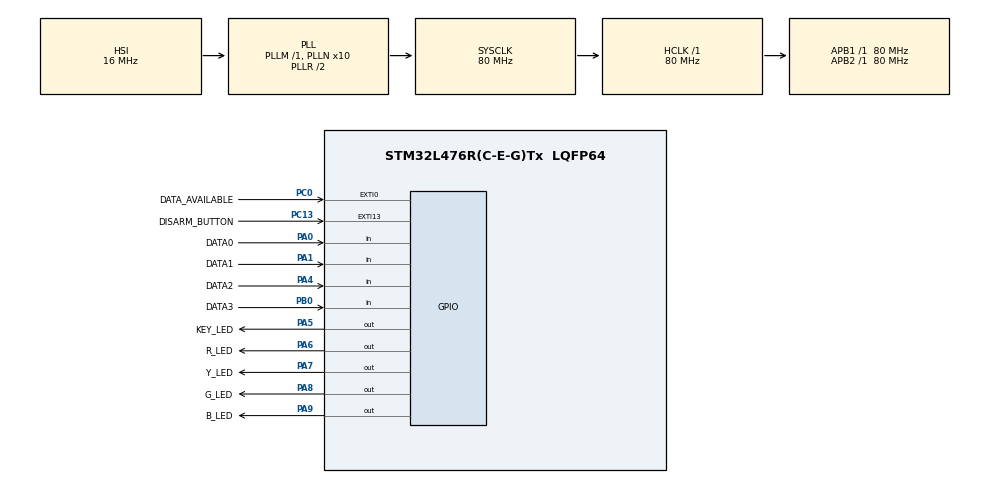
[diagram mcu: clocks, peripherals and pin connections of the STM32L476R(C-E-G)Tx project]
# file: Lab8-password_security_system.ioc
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Mcu.Family=STM32L4
Mcu.Name=STM32L476R(C-E-G)Tx
Mcu.Package=LQFP64
NVIC.EXTI0_IRQn=true\:0\:0\:false\:false\:true\:true\:true\:true
NVIC.EXTI15_10_IRQn=true\:0\:0\:false\:false\:true\:true\:true\:true
NVIC.PriorityGroup=NVIC_PRIORITYGROUP_4
PA0.GPIO_Label=DATA0
PA0.Signal=GPIO_Input
PA1.GPIO_Label=DATA1
PA1.Signal=GPIO_Input
PA13\ (JTMS-SWDIO).GPIO_Label=TMS
PA13\ (JTMS-SWDIO).Mode=Serial_Wire
PA13\ (JTMS-SWDIO).Signal=SYS_JTMS-SWDIO
PA14\ (JTCK-SWCLK).GPIO_Label=TCK
PA14\ (JTCK-SWCLK).Mode=Serial_Wire
PA14\ (JTCK-SWCLK).Signal=SYS_JTCK-SWCLK
PA4.GPIO_Label=DATA2
PA4.Signal=GPIO_Input
PA5.GPIO_Label=KEY_LED
PA5.GPIO_ModeDefaultOutputPP=GPIO_MODE_OUTPUT_PP
PA5.GPIO_PuPd=GPIO_NOPULL
PA5.GPIO_Speed=GPIO_SPEED_FREQ_LOW
PA5.Signal=GPIO_Output
PA6.GPIO_Label=R_LED
PA6.Signal=GPIO_Output
PA7.GPIO_Label=Y_LED
PA7.Signal=GPIO_Output
PA8.GPIO_Label=G_LED
PA8.Signal=GPIO_Output
PA9.GPIO_Label=B_LED
PA9.Signal=GPIO_Output
PB0.GPIO_Label=DATA3
PB0.Signal=GPIO_Input
PB3\ (JTDO-TRACESWO).GPIO_Label=SWO
PB3\ (JTDO-TRACESWO).Signal=SYS_JTDO-SWO
PC0.GPIO_Label=DATA_AVAILABLE
PC0.Signal=GPXTI0
PC13.GPIO_Label=DISARM_BUTTON
PC13.GPIO_ModeDefaultEXTI=GPIO_MODE_IT_FALLING
PC13.GPIO_PuPd=GPIO_NOPULL
PC13.Signal=GPXTI13
PC14-OSC32_IN\ (PC14).Mode=LSE-External-Oscillator
PC14-OSC32_IN\ (PC14).Signal=RCC_OSC32_IN
PC15-OSC32_OUT\ (PC15).Mode=LSE-External-Oscillator
PC15-OSC32_OUT\ (PC15).Signal=RCC_OSC32_OUT
PH0-OSC_IN\ (PH0).Signal=RCC_OSC_IN
PH1-OSC_OUT\ (PH1).Signal=RCC_OSC_OUT
ProjectManager.HeapSize=0x200
ProjectManager.StackSize=0x400
ProjectManager.TargetToolchain=STM32CubeIDE
RCC.ADCFreq_Value=64000000
RCC.AHBFreq_Value=80000000
RCC.APB1Freq_Value=80000000
RCC.APB1TimFreq_Value=80000000
RCC.APB2Freq_Value=80000000
RCC.APB2TimFreq_Value=80000000
RCC.CortexFreq_Value=80000000
RCC.HCLKFreq_Value=80000000
RCC.HSE_VALUE=8000000
RCC.HSI_VALUE=16000000
RCC.MSI_VALUE=4000000
RCC.PLLN=10
RCC.PLLSourceVirtual=RCC_PLLSOURCE_HSI
RCC.PREFETCH_ENABLE=1
RCC.SYSCLKFreq_VALUE=80000000
RCC.SYSCLKSource=RCC_SYSCLKSOURCE_PLLCLK
RCC.USBFreq_Value=64000000
RCC.VCOOutputFreq_Value=160000000
board=NUCLEO-L476RG

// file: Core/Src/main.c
/* USER CODE BEGIN Header */
/**
  ******************************************************************************
  * @file           : main.c
  * @brief          : Main program body
  ******************************************************************************
  * @attention
  *
  * Copyright (c) 2025 STMicroelectronics.
  * All rights reserved.
  *
  * This software is licensed under terms that can be found in the LICENSE file
  * in the root directory of this software component.
  * If no LICENSE file comes with this software, it is provided AS-IS.
  *
  ******************************************************************************
  */
/* USER CODE END Header */
#include "main.h"

/* USER CODE BEGIN Includes */
#include <stdbool.h>
/* USER CODE END Includes */

/* USER CODE BEGIN PV */
int password_index = 0, num_attempts = 0;
int current_password[10], temporary_password[10];
bool saving_password = false, entering_password = false, locked = false, alarm = false;
/* USER CODE END PV */

void SystemClock_Config(void);
static void MX_GPIO_Init(void);
/* USER CODE BEGIN PFP */
uint8_t keypad_decode();
/* USER CODE END PFP */

int main(void)
{

  /* MCU Configuration--------------------------------------------------------*/

  /* Reset of all peripherals, Initializes the Flash interface and the Systick. */
  HAL_Init();

  /* Configure the system clock */
  SystemClock_Config();

  /* Initialize all configured peripherals */
  MX_GPIO_Init();

  /* Infinite loop */
  /* USER CODE BEGIN WHILE */
  while (1)
  {
	  // if 3 incorrect passwords are entered, blink R_LED
	  if(alarm) {
		  HAL_GPIO_TogglePin(R_LED_GPIO_Port, R_LED_Pin);
		  HAL_Delay(250);
	  }
    /* USER CODE END WHILE */

  }
}

void SystemClock_Config(void)
{
  RCC_OscInitTypeDef RCC_OscInitStruct = {0};
  RCC_ClkInitTypeDef RCC_ClkInitStruct = {0};

  /** Configure the main internal regulator output voltage
  */
  if (HAL_PWREx_ControlVoltageScaling(PWR_REGULATOR_VOLTAGE_SCALE1) != HAL_OK)
  {
    Error_Handler();
  }

  /** Initializes the RCC Oscillators according to the specified parameters
  * in the RCC_OscInitTypeDef structure.
  */
  RCC_OscInitStruct.OscillatorType = RCC_OSCILLATORTYPE_HSI;
  RCC_OscInitStruct.HSIState = RCC_HSI_ON;
  RCC_OscInitStruct.HSICalibrationValue = RCC_HSICALIBRATION_DEFAULT;
  RCC_OscInitStruct.PLL.PLLState = RCC_PLL_ON;
  RCC_OscInitStruct.PLL.PLLSource = RCC_PLLSOURCE_HSI;
  RCC_OscInitStruct.PLL.PLLM = 1;
  RCC_OscInitStruct.PLL.PLLN = 10;
  RCC_OscInitStruct.PLL.PLLP = RCC_PLLP_DIV7;
  RCC_OscInitStruct.PLL.PLLQ = RCC_PLLQ_DIV2;
  RCC_OscInitStruct.PLL.PLLR = RCC_PLLR_DIV2;
  if (HAL_RCC_OscConfig(&RCC_OscInitStruct) != HAL_OK)
  {
    Error_Handler();
  }

  /** Initializes the CPU, AHB and APB buses clocks
  */
  RCC_ClkInitStruct.ClockType = RCC_CLOCKTYPE_HCLK|RCC_CLOCKTYPE_SYSCLK
                              |RCC_CLOCKTYPE_PCLK1|RCC_CLOCKTYPE_PCLK2;
  RCC_ClkInitStruct.SYSCLKSource = RCC_SYSCLKSOURCE_PLLCLK;
  RCC_ClkInitStruct.AHBCLKDivider = RCC_SYSCLK_DIV1;
  RCC_ClkInitStruct.APB1CLKDivider = RCC_HCLK_DIV1;
  RCC_ClkInitStruct.APB2CLKDivider = RCC_HCLK_DIV1;

  if (HAL_RCC_ClockConfig(&RCC_ClkInitStruct, FLASH_LATENCY_4) != HAL_OK)
  {
    Error_Handler();
  }
}

static void MX_GPIO_Init(void)
{
  GPIO_InitTypeDef GPIO_InitStruct = {0};

  /* GPIO Ports Clock Enable */
  __HAL_RCC_GPIOC_CLK_ENABLE();
  __HAL_RCC_GPIOH_CLK_ENABLE();
  __HAL_RCC_GPIOA_CLK_ENABLE();
  __HAL_RCC_GPIOB_CLK_ENABLE();

  /*Configure GPIO pin Output Level */
  HAL_GPIO_WritePin(GPIOA, KEY_LED_Pin|R_LED_Pin|Y_LED_Pin|G_LED_Pin
                          |B_LED_Pin, GPIO_PIN_RESET);

  /*Configure GPIO pin : DISARM_BUTTON_Pin */
  GPIO_InitStruct.Pin = DISARM_BUTTON_Pin;
  GPIO_InitStruct.Mode = GPIO_MODE_IT_FALLING;
  GPIO_InitStruct.Pull = GPIO_NOPULL;
  HAL_GPIO_Init(DISARM_BUTTON_GPIO_Port, &GPIO_InitStruct);

  /*Configure GPIO pin : DATA_AVAILABLE_Pin */
  GPIO_InitStruct.Pin = DATA_AVAILABLE_Pin;
  GPIO_InitStruct.Mode = GPIO_MODE_IT_RISING;
  GPIO_InitStruct.Pull = GPIO_NOPULL;
  HAL_GPIO_Init(DATA_AVAILABLE_GPIO_Port, &GPIO_InitStruct);

  /*Configure GPIO pins : DATA0_Pin DATA1_Pin DATA2_Pin */
  GPIO_InitStruct.Pin = DATA0_Pin|DATA1_Pin|DATA2_Pin;
  GPIO_InitStruct.Mode = GPIO_MODE_INPUT;
  GPIO_InitStruct.Pull = GPIO_NOPULL;
  HAL_GPIO_Init(GPIOA, &GPIO_InitStruct);

  /*Configure GPIO pins : KEY_LED_Pin R_LED_Pin Y_LED_Pin G_LED_Pin
                           B_LED_Pin */
  GPIO_InitStruct.Pin = KEY_LED_Pin|R_LED_Pin|Y_LED_Pin|G_LED_Pin
                          |B_LED_Pin;
  GPIO_InitStruct.Mode = GPIO_MODE_OUTPUT_PP;
  GPIO_InitStruct.Pull = GPIO_NOPULL;
  GPIO_InitStruct.Speed = GPIO_SPEED_FREQ_LOW;
  HAL_GPIO_Init(GPIOA, &GPIO_InitStruct);

  /*Configure GPIO pin : DATA3_Pin */
  GPIO_InitStruct.Pin = DATA3_Pin;
  GPIO_InitStruct.Mode = GPIO_MODE_INPUT;
  GPIO_InitStruct.Pull = GPIO_NOPULL;
  HAL_GPIO_Init(DATA3_GPIO_Port, &GPIO_InitStruct);

  /* EXTI interrupt init*/
  HAL_NVIC_SetPriority(EXTI0_IRQn, 0, 0);
  HAL_NVIC_EnableIRQ(EXTI0_IRQn);

  HAL_NVIC_SetPriority(EXTI15_10_IRQn, 0, 0);
  HAL_NVIC_EnableIRQ(EXTI15_10_IRQn);

}

/* USER CODE BEGIN 4 */
///////////////////////////////////////////////////////////////////////////////////////////////////////////////////////////
// This function responds to external interrupts (key and button presses)
///////////////////////////////////////////////////////////////////////////////////////////////////////////////////////////
void HAL_GPIO_EXTI_Callback(uint16_t GPIO_Pin) {

	// Check if the interrupt was for Disarm Button
	if (GPIO_Pin == DISARM_BUTTON_Pin) {

		// Reset system
		alarm = false;
		locked = false;
		entering_password = false;
		saving_password = false;
		num_attempts = 0;
		password_index = 0;

		// Turn off lights
		HAL_GPIO_WritePin(R_LED_GPIO_Port, R_LED_Pin, 0); // turn off R_LED
		HAL_GPIO_WritePin(Y_LED_GPIO_Port, Y_LED_Pin, 0); // turn off Y_LED
		HAL_GPIO_WritePin(G_LED_GPIO_Port, G_LED_Pin, 0); // turn off G_LED
		HAL_GPIO_WritePin(B_LED_GPIO_Port, B_LED_Pin, 0); // turn off B_LED
	}

	// Check if the interrupt was for Data Available Pin
	if (HAL_GPIO_ReadPin(DATA_AVAILABLE_GPIO_Port, DATA_AVAILABLE_Pin)) {

		// Turn on LED2 to show key press detected
		HAL_GPIO_WritePin(KEY_LED_GPIO_Port, KEY_LED_Pin, 1); // turn on the KEY_LED (LED2)

		// Read data
		uint8_t key = keypad_decode();  // determine which key was pressed

		if (!alarm) {

			// Based on what key was pressed, do something (each case)
			switch (key) {

			case 0xA: // button "A" was pressed

				if (locked == false) { // if not already locked

					// Clear temporary password
					for (int i = 0; i < 10; i++){
						temporary_password[i] = -1;
					}

					// Change status (user is saving a new password)
					saving_password = true;
					password_index = 0;  // reset password index

					// Turn off indicator lights while entering new password
					HAL_GPIO_WritePin(R_LED_GPIO_Port, R_LED_Pin, 0); // turn off R_LED
					HAL_GPIO_WritePin(Y_LED_GPIO_Port, Y_LED_Pin, 0); // turn off Y_LED
					HAL_GPIO_WritePin(G_LED_GPIO_Port, G_LED_Pin, 0); // turn off G_LED
					HAL_GPIO_WritePin(B_LED_GPIO_Port, B_LED_Pin, 0); // turn off B_LED
				}

				break; // end case 0xA

			case 0xB: // button "B" was pressed

				if (locked == false) { // if not already locked

					// Store temp password as current password
					for (int i = 0; i < 10; i++){
						current_password[i] = temporary_password[i];
					}

					// Turn on blue (new password successfully saved - system is locked)
					HAL_GPIO_WritePin(B_LED_GPIO_Port, B_LED_Pin, 1); // turn oN B_LED

					// Change status (user is finished saving a new password)
					saving_password = false;
					locked = true;
				}

				break; // end case 0xB

			case 0xC: // button "C" was pressed

				// Clear temporary password
				for (int i = 0; i < 10; i++){
					temporary_password[i] = -1;
				}

				// Change status (user is entering password to check)
				entering_password = true;
				password_index = 0; // reset password index

				// Turn off password indicator lights while checking new password
				HAL_GPIO_WritePin(R_LED_GPIO_Port, R_LED_Pin, 0); // turn off R_LED
				HAL_GPIO_WritePin(Y_LED_GPIO_Port, Y_LED_Pin, 0); // turn off Y_LED
				HAL_GPIO_WritePin(G_LED_GPIO_Port, G_LED_Pin, 0); // turn off G_LED

				break; // end case 0xC

			case 0xD: // button "D" was pressed

				if (entering_password) { // if password was being entered

					// Change status (user is finished entering password to check)
					entering_password = false;
					password_index = 0;
					locked = false;

					// Compare temporary password with current password
					for (int i = 0; i < 10; i++) {
						if (current_password[i] != temporary_password[i]){
							locked = true; // digit is incorrect, keep locked
						}
					}

					// If password is correct
					if (locked == false) {

						// Reset attempt count
						num_attempts = 0;

						// Turn on green (correct password entered)
						HAL_GPIO_WritePin(G_LED_GPIO_Port, G_LED_Pin, 1); // turn on G_LED

						// Turn off blue (system is unlocked)
						HAL_GPIO_WritePin(B_LED_GPIO_Port, B_LED_Pin, 0); // turn off B_LED

					} else { // password is incorrect

						// Increment attempt count
						num_attempts++;

						// if 3 wrong attempts
						if (num_attempts >= 3) {

							// Turn on red (alarm!)
							HAL_GPIO_WritePin(R_LED_GPIO_Port, R_LED_Pin, 1); // turn on R_LED
							alarm = true;

						} else {

							// Turn on yellow (incorrect password entered)
							HAL_GPIO_WritePin(Y_LED_GPIO_Port, Y_LED_Pin, 1); // turn on Y_LED

						}
					}

				}

				break; // end case 0xD

			case 0xE: // key E (*) does nothing
				break;

			case 0xF: // key F (#) does nothing
				break;

			default: // this means a number was pressed

				// if current status == storing new password
				if (saving_password) {

					if (password_index < 10) {

						// store digit into temporary password
						temporary_password[password_index++] = key;

						// if max digits reached, finish and store
						if (password_index == 10) {

							// Store new password
							for (int i = 0; i < 10; i++){
								current_password[i] = temporary_password[i];
							}

							// Turn on blue (new password successfully saved - system is locked)
							HAL_GPIO_WritePin(B_LED_GPIO_Port, B_LED_Pin, 1); // turn on B_LED

							// Change status
							saving_password = false;
							locked = true;
						}
					}
				}

				// if status == entering password to check
				else if (entering_password) {

					// store digit into temporary password
					if (password_index < 10){
						temporary_password[password_index++] = key; // store digit
					}
				}
				break; // end default case
			}

		}
		else { // if alarm != false, set to true so the main while loop knows to blink R_LED
			alarm = true;
		}

		// wait for user to release key, then turn off LED2
		while (HAL_GPIO_ReadPin(DATA_AVAILABLE_GPIO_Port, DATA_AVAILABLE_Pin) == GPIO_PIN_SET);
		HAL_GPIO_WritePin(KEY_LED_GPIO_Port, KEY_LED_Pin, 0); // turn off the KEY_LED (LED2)

	}

}

///////////////////////////////////////////////////////////////////////////////////////////////////////////////////////////
// This function reads the four data pins from the keypad encoder and maps them to the key value
///////////////////////////////////////////////////////////////////////////////////////////////////////////////////////////
unsigned char keypad_decode() {
	unsigned char key = 0x0;
	unsigned char data = 0b0000;

	// read the data pins and combine into the 4-bit value: D3_D2_D1_D0
	unsigned int D3 = HAL_GPIO_ReadPin(DATA3_GPIO_Port, DATA3_Pin);
	unsigned int D2 = HAL_GPIO_ReadPin(DATA2_GPIO_Port, DATA2_Pin);
	unsigned int D1 = HAL_GPIO_ReadPin(DATA1_GPIO_Port, DATA1_Pin);
	unsigned int D0 = HAL_GPIO_ReadPin(DATA0_GPIO_Port, DATA0_Pin);
	data = ((D3 << 3) | (D2 << 2) | (D1 << 1) | D0);

	// The key encoder gives the following "data" values:
	// 0 1 2 3
	// 4 5 6 7
	// 8 9 A B
	// C D E F

	// The following switch statement re-maps it to these "key" names:
	// 1 2 3 A
	// 4 5 6 B
	// 7 8 9 C
	// E 0 F D, where E is * and F is #

   // Finish this switch statement to remap the "data" to the correct "key"
	switch (data) {
      case 0x0:
         key = 0x1;
         break;
      case 0x1:
         key = 0x2;
         break;
      case 0x2:
         key = 0x3;
         break;
      case 0x3:
         key = 0xA;
         break;
      case 0x4:
         key = 0x4;
         break;
      case 0x5:
         key = 0x5;
         break;
      case 0x6:
         key = 0x6;
         break;
      case 0x7:
         key = 0xB;
         break;
      case 0x8:
         key = 0x7;
         break;
      case 0x9:
         key = 0x8;
         break;
      case 0xA:
         key = 0x9;
         break;
      case 0xB:
         key = 0xC;
         break;
      case 0xC:
         key = "*";
         break;
      case 0xD:
         key = 0x0;
         break;
      case 0xE:
         key = "#";
         break;
      case 0xF:
         key = 0xD;
         break;
	}

	return key;
}
/* USER CODE END 4 */

void Error_Handler(void)
{
  __disable_irq();
  while (1)
  {
  }
}
